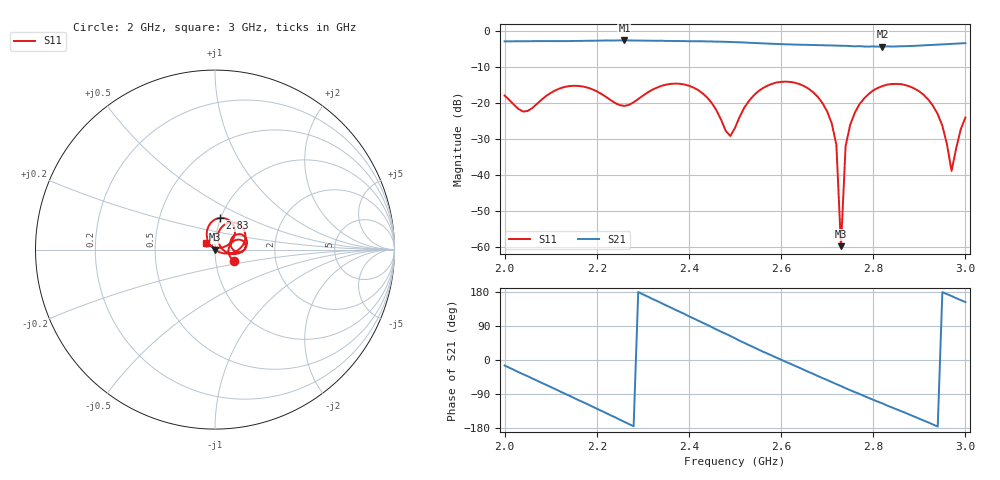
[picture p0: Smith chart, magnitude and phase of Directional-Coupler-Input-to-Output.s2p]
# HZ S RI R 50
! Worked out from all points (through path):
!   101 points, 2 GHz to 3 GHz, reference 50 ohm
!   highest |S21| = -2.70 dB at 2.26 GHz (marker M1); lowest = -4.4 dB at 2.82 GHz (marker M2)
!   group delay of S21, straight-line fit = 1.55 ns
!   lowest |S11| = -59.8 dB at 2.73 GHz (marker M3), VSWR 1.00, Z = 50 - j0.102 ohm
!   |S11| at or under -10 dB: start of sweep to end of sweep
!   S12 and S22 are empty: the file has one direction only
!   S11 on the Smith chart (normalised r, x): 2 GHz: 1.23, -0.16; 2.83 GHz: 0.99, +0.36; 3 GHz: 0.90, +0.07
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2e9  0.1077 -0.0651  0.6886 -0.1782  0 0  0 0
2.04e9  0.0748 -0.00953  0.5667 -0.4341  0 0  0 0
2.17e9  0.1679 0.00693  -0.2593 -0.6756  0 0  0 0
2.26e9  0.0871 0.0244  -0.7017 -0.211  0 0  0 0
2.34e9  0.1485 0.0849  -0.6323 0.3592  0 0  0 0
2.42e9  0.1494 -0.0129  -0.1726 0.6932  0 0  0 0
2.49e9  0.0278 0.0205  0.3132 0.6234  0 0  0 0
2.5e9  0.0194 0.0405  0.3739 0.5848  0 0  0 0
2.57e9  0.083 0.1508  0.6335 0.1956  0 0  0 0
2.67e9  0.1392 0.00595  0.5081 -0.379  0 0  0 0
2.7e9  0.0723 -0.0223  0.378 -0.4976  0 0  0 0
2.72e9  0.0222 -0.0137  0.2756 -0.5574  0 0  0 0
2.73e9  -2.88e-05 -0.00102  0.2239 -0.5766  0 0  0 0
2.74e9  -0.0186 0.0165  0.1657 -0.5952  0 0  0 0
2.75e9  -0.033 0.0369  0.1095 -0.6019  0 0  0 0
2.82e9  0.00406 0.1704  -0.2487 -0.5471  0 0  0 0
2.83e9  0.0271 0.1764  -0.3054 -0.5236  0 0  0 0
2.84e9  0.0449 0.1764  -0.3449 -0.4956  0 0  0 0
2.93e9  0.083 0.0348  -0.6271 -0.1055  0 0  0 0
2.95e9  0.046 0.0134  -0.6462 0.0109  0 0  0 0
2.97e9  0.00344 0.0108  -0.6444 0.1276  0 0  0 0
3e9  -0.049 0.0385  -0.5981 0.3083  0 0  0 0
